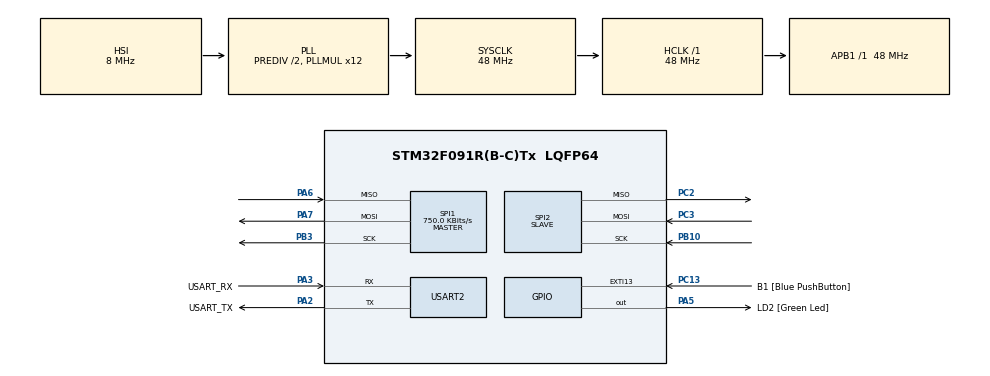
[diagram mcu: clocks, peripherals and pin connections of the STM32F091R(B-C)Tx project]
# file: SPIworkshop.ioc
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Mcu.Family=STM32F0
Mcu.Name=STM32F091R(B-C)Tx
Mcu.Package=LQFP64
PA13.GPIO_Label=TMS
PA13.Mode=Serial_Wire
PA13.Signal=SYS_SWDIO
PA14.GPIO_Label=TCK
PA14.Mode=Serial_Wire
PA14.Signal=SYS_SWCLK
PA2.GPIO_Label=USART_TX
PA2.GPIO_Mode=GPIO_MODE_AF_PP
PA2.GPIO_PuPd=GPIO_NOPULL
PA2.GPIO_Speed=GPIO_SPEED_FREQ_LOW
PA2.Mode=Asynchronous
PA2.Signal=USART2_TX
PA3.GPIO_Label=USART_RX
PA3.GPIO_Mode=GPIO_MODE_AF_PP
PA3.GPIO_PuPd=GPIO_NOPULL
PA3.GPIO_Speed=GPIO_SPEED_FREQ_LOW
PA3.Mode=Asynchronous
PA3.Signal=USART2_RX
PA5.GPIO_Label=LD2 [Green Led]
PA5.GPIO_Mode=GPIO_MODE_OUTPUT_PP
PA5.GPIO_PuPd=GPIO_NOPULL
PA5.GPIO_Speed=GPIO_SPEED_FREQ_LOW
PA5.Signal=GPIO_Output
PA6.Mode=Full_Duplex_Master
PA6.Signal=SPI1_MISO
PA7.Mode=Full_Duplex_Master
PA7.Signal=SPI1_MOSI
PB10.Mode=Full_Duplex_Slave
PB10.Signal=SPI2_SCK
PB3.Mode=Full_Duplex_Master
PB3.Signal=SPI1_SCK
PC13.GPIO_Label=B1 [Blue PushButton]
PC13.GPIO_ModeDefaultEXTI=GPIO_MODE_IT_FALLING
PC13.Signal=GPXTI13
PC14OSC32_IN.Mode=LSE-External-Oscillator
PC14OSC32_IN.Signal=RCC_OSC32_IN
PC15OSC32_OUT.Mode=LSE-External-Oscillator
PC15OSC32_OUT.Signal=RCC_OSC32_OUT
PC2.Mode=Full_Duplex_Slave
PC2.Signal=SPI2_MISO
PC3.Mode=Full_Duplex_Slave
PC3.Signal=SPI2_MOSI
PF0-OSC_IN.Mode=HSE-External-Clock-Source
PF0-OSC_IN.Signal=RCC_OSC_IN
PF1-OSC_OUT.Signal=RCC_OSC_OUT
ProjectManager.HeapSize=0x200
ProjectManager.StackSize=0x400
ProjectManager.TargetToolchain=STM32CubeIDE
RCC.AHBFreq_Value=48000000
RCC.APB1Freq_Value=48000000
RCC.APB1TimFreq_Value=48000000
RCC.FLatency-AdvancedSettings=FLASH_LATENCY_1
RCC.HCLKFreq_Value=48000000
RCC.PLLDivider=RCC_PREDIV_DIV2
RCC.PLLMUL=RCC_PLL_MUL12
RCC.PREFETCH_ENABLE-AdvancedSettings=1
RCC.SYSCLKFreq_VALUE=48000000
RCC.SYSCLKSource=RCC_SYSCLKSOURCE_PLLCLK
SPI1.BaudRatePrescaler=SPI_BAUDRATEPRESCALER_64
SPI1.CalculateBaudRate=750.0 KBits/s
SPI1.DataSize=SPI_DATASIZE_8BIT
SPI1.Direction=SPI_DIRECTION_2LINES
SPI1.Mode=SPI_MODE_MASTER
SPI1.VirtualType=VM_MASTER
SPI2.DataSize=SPI_DATASIZE_8BIT
SPI2.Direction=SPI_DIRECTION_2LINES
SPI2.Mode=SPI_MODE_SLAVE
SPI2.VirtualType=VM_SLAVE
USART2.VirtualMode=VM_ASYNC
USART2.VirtualMode-Asynchronous=VM_ASYNC
board=NUCLEO-F091RC

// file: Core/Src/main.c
/* USER CODE BEGIN Header */
/**
  ******************************************************************************
  * @file           : main.c
  * @brief          : Main program body
  ******************************************************************************
  * @attention
  *
  * Copyright (c) 2026 STMicroelectronics.
  * All rights reserved.
  *
  * This software is licensed under terms that can be found in the LICENSE file
  * in the root directory of this software component.
  * If no LICENSE file comes with this software, it is provided AS-IS.
  *
  ******************************************************************************
  */
/* USER CODE END Header */
#include "main.h"

SPI_HandleTypeDef hspi1;
SPI_HandleTypeDef hspi2;

UART_HandleTypeDef huart2;

void SystemClock_Config(void);
static void MX_GPIO_Init(void);
static void MX_USART2_UART_Init(void);
static void MX_SPI1_Init(void);
static void MX_SPI2_Init(void);

int main(void)
{

  /* USER CODE BEGIN 1 */

	char spi1_buff[2];
	int spi1_val = 1;
	char spi2_buff[2] = {'A', 'B'};
	int spi2_val = 0;
	int send = 0;
  /* USER CODE END 1 */

  /* MCU Configuration--------------------------------------------------------*/

  /* Reset of all peripherals, Initializes the Flash interface and the Systick. */
  HAL_Init();

  /* Configure the system clock */
  SystemClock_Config();

  /* Initialize all configured peripherals */
  MX_GPIO_Init();
  MX_USART2_UART_Init();
  MX_SPI1_Init();
  MX_SPI2_Init();

  /* Infinite loop */
  /* USER CODE BEGIN WHILE */
  while (1)
  {
	  int val = 1;
	  spi1_buff[0] = 0;
	  spi1_buff[1] = 0;
	  (void)HAL_SPI_Transmit(&hspi1, (uint8_t*)spi1_buff, 2, 100);
	  if(HAL_SPI_TransmitReceive(&hspi2, (uint8_t*)spi2_val, (uint8_t*)spi2_buff, 2, 100) == HAL_OK)
	  {
		  if(spi1_buff[0] == 'A' && spi1_buff[1] == 'B')
		  {
			  HAL_GPIO_WritePin(GPIOA,GPIO_PIN_5,GPIO_PIN_SET);
		  }
		  else
		  {
			  HAL_GPIO_WritePin(GPIOA,GPIO_PIN_5,GPIO_PIN_RESET);
		  }
	  }
	  HAL_SPI_Receive(&hspi1, (uint8_t*)spi1_val, 1, 100);
	  HAL_Delay(1000);
	  /* USER CODE END WHILE */

  }
}

void SystemClock_Config(void)
{
  RCC_OscInitTypeDef RCC_OscInitStruct = {0};
  RCC_ClkInitTypeDef RCC_ClkInitStruct = {0};
  RCC_PeriphCLKInitTypeDef PeriphClkInit = {0};

  /** Initializes the RCC Oscillators according to the specified parameters
  * in the RCC_OscInitTypeDef structure.
  */
  RCC_OscInitStruct.OscillatorType = RCC_OSCILLATORTYPE_HSI;
  RCC_OscInitStruct.HSIState = RCC_HSI_ON;
  RCC_OscInitStruct.HSICalibrationValue = RCC_HSICALIBRATION_DEFAULT;
  RCC_OscInitStruct.PLL.PLLState = RCC_PLL_ON;
  RCC_OscInitStruct.PLL.PLLSource = RCC_PLLSOURCE_HSI;
  RCC_OscInitStruct.PLL.PLLMUL = RCC_PLL_MUL12;
  RCC_OscInitStruct.PLL.PREDIV = RCC_PREDIV_DIV2;
  if (HAL_RCC_OscConfig(&RCC_OscInitStruct) != HAL_OK)
  {
    Error_Handler();
  }

  /** Initializes the CPU, AHB and APB buses clocks
  */
  RCC_ClkInitStruct.ClockType = RCC_CLOCKTYPE_HCLK|RCC_CLOCKTYPE_SYSCLK
                              |RCC_CLOCKTYPE_PCLK1;
  RCC_ClkInitStruct.SYSCLKSource = RCC_SYSCLKSOURCE_PLLCLK;
  RCC_ClkInitStruct.AHBCLKDivider = RCC_SYSCLK_DIV1;
  RCC_ClkInitStruct.APB1CLKDivider = RCC_HCLK_DIV1;

  if (HAL_RCC_ClockConfig(&RCC_ClkInitStruct, FLASH_LATENCY_1) != HAL_OK)
  {
    Error_Handler();
  }
  PeriphClkInit.PeriphClockSelection = RCC_PERIPHCLK_USART2;
  PeriphClkInit.Usart2ClockSelection = RCC_USART2CLKSOURCE_PCLK1;
  if (HAL_RCCEx_PeriphCLKConfig(&PeriphClkInit) != HAL_OK)
  {
    Error_Handler();
  }
}

static void MX_SPI1_Init(void)
{

  /* SPI1 parameter configuration*/
  hspi1.Instance = SPI1;
  hspi1.Init.Mode = SPI_MODE_MASTER;
  hspi1.Init.Direction = SPI_DIRECTION_2LINES;
  hspi1.Init.DataSize = SPI_DATASIZE_8BIT;
  hspi1.Init.CLKPolarity = SPI_POLARITY_LOW;
  hspi1.Init.CLKPhase = SPI_PHASE_1EDGE;
  hspi1.Init.NSS = SPI_NSS_SOFT;
  hspi1.Init.BaudRatePrescaler = SPI_BAUDRATEPRESCALER_64;
  hspi1.Init.FirstBit = SPI_FIRSTBIT_MSB;
  hspi1.Init.TIMode = SPI_TIMODE_DISABLE;
  hspi1.Init.CRCCalculation = SPI_CRCCALCULATION_DISABLE;
  hspi1.Init.CRCPolynomial = 7;
  hspi1.Init.CRCLength = SPI_CRC_LENGTH_DATASIZE;
  hspi1.Init.NSSPMode = SPI_NSS_PULSE_ENABLE;
  if (HAL_SPI_Init(&hspi1) != HAL_OK)
  {
    Error_Handler();
  }

}

static void MX_SPI2_Init(void)
{

  /* SPI2 parameter configuration*/
  hspi2.Instance = SPI2;
  hspi2.Init.Mode = SPI_MODE_SLAVE;
  hspi2.Init.Direction = SPI_DIRECTION_2LINES;
  hspi2.Init.DataSize = SPI_DATASIZE_8BIT;
  hspi2.Init.CLKPolarity = SPI_POLARITY_LOW;
  hspi2.Init.CLKPhase = SPI_PHASE_1EDGE;
  hspi2.Init.NSS = SPI_NSS_SOFT;
  hspi2.Init.FirstBit = SPI_FIRSTBIT_MSB;
  hspi2.Init.TIMode = SPI_TIMODE_DISABLE;
  hspi2.Init.CRCCalculation = SPI_CRCCALCULATION_DISABLE;
  hspi2.Init.CRCPolynomial = 7;
  hspi2.Init.CRCLength = SPI_CRC_LENGTH_DATASIZE;
  hspi2.Init.NSSPMode = SPI_NSS_PULSE_DISABLE;
  if (HAL_SPI_Init(&hspi2) != HAL_OK)
  {
    Error_Handler();
  }

}

static void MX_USART2_UART_Init(void)
{

  huart2.Instance = USART2;
  huart2.Init.BaudRate = 115200;
  huart2.Init.WordLength = UART_WORDLENGTH_8B;
  huart2.Init.StopBits = UART_STOPBITS_1;
  huart2.Init.Parity = UART_PARITY_NONE;
  huart2.Init.Mode = UART_MODE_TX_RX;
  huart2.Init.HwFlowCtl = UART_HWCONTROL_NONE;
  huart2.Init.OverSampling = UART_OVERSAMPLING_16;
  huart2.Init.OneBitSampling = UART_ONE_BIT_SAMPLE_DISABLE;
  huart2.AdvancedInit.AdvFeatureInit = UART_ADVFEATURE_NO_INIT;
  if (HAL_UART_Init(&huart2) != HAL_OK)
  {
    Error_Handler();
  }

}

static void MX_GPIO_Init(void)
{
  GPIO_InitTypeDef GPIO_InitStruct = {0};

  /* GPIO Ports Clock Enable */
  __HAL_RCC_GPIOC_CLK_ENABLE();
  __HAL_RCC_GPIOF_CLK_ENABLE();
  __HAL_RCC_GPIOA_CLK_ENABLE();
  __HAL_RCC_GPIOB_CLK_ENABLE();

  /*Configure GPIO pin Output Level */
  HAL_GPIO_WritePin(LD2_GPIO_Port, LD2_Pin, GPIO_PIN_RESET);

  /*Configure GPIO pin : B1_Pin */
  GPIO_InitStruct.Pin = B1_Pin;
  GPIO_InitStruct.Mode = GPIO_MODE_IT_FALLING;
  GPIO_InitStruct.Pull = GPIO_NOPULL;
  HAL_GPIO_Init(B1_GPIO_Port, &GPIO_InitStruct);

  /*Configure GPIO pin : LD2_Pin */
  GPIO_InitStruct.Pin = LD2_Pin;
  GPIO_InitStruct.Mode = GPIO_MODE_OUTPUT_PP;
  GPIO_InitStruct.Pull = GPIO_NOPULL;
  GPIO_InitStruct.Speed = GPIO_SPEED_FREQ_LOW;
  HAL_GPIO_Init(LD2_GPIO_Port, &GPIO_InitStruct);

}

void Error_Handler(void)
{
  __disable_irq();
  while (1)
  {
  }
}
